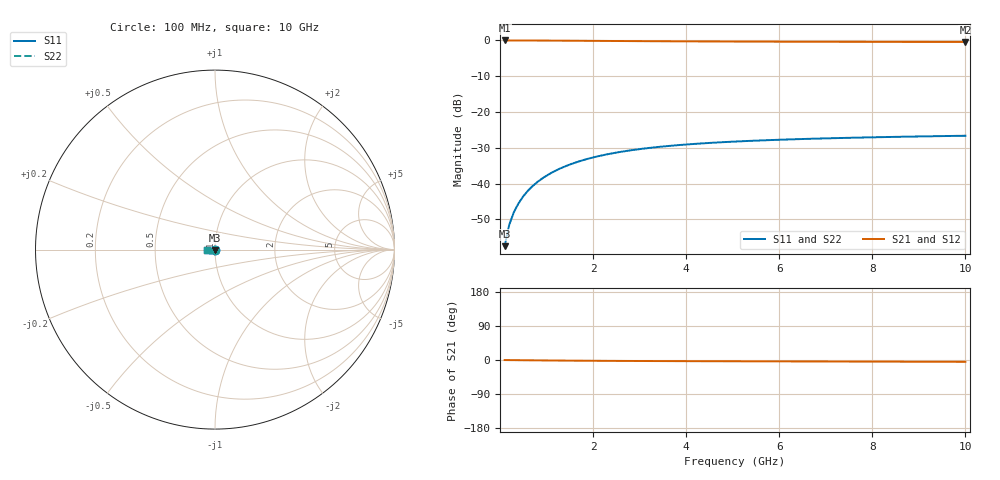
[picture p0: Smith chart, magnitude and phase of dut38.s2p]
! Touchstone file exported from HFSS 2024.1.0
!  File:  C:/UserFiles/LocalFiles/RDL_TSV_Batchsim/temp_TSV1_38_1778748063.aedt
!  Generated:  04:46:22 PM May 14, 2026
!  Design:  TSV1
!  Project:  temp_TSV1_38_1778748063
!  Setup:  Setup1
!  Solution:  Sweep
! Variables:
!  dtsv = 12.12um
!  hbump = 3um
!  htsv = 73.67um
!  lrdl = 252.1521522um
!  p = 40
!  p1 = 53.59um
!  t = 500um
!  trdl = 3um
!  wrdl = 24.89489489um
# GHz S MA R 50.000000
! Terminal data exported
! Port[1] = TSV22_T1
! Port[2] = TSV22_T2
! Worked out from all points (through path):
!   100 points, 100 MHz to 10 GHz, reference 50 ohm
!   highest |S21| = 0.00 dB at 100 MHz (marker M1); lowest = -0.4 dB at 10 GHz (marker M2)
!   lowest |S11| = -57.5 dB at 100 MHz (marker M3), VSWR 1.00, Z = 50 - j0.134 ohm
!   |S11| at or under -10 dB: start of sweep to end of sweep
!   |S22| runs from -57.5 to -26.6 dB; largest |S21 - S12| = 5.1e-15
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0.1  0.001336 -87.9  0.9999 -0.1  0.9999 -0.1  0.001336 -87.9
! Gamma 0 0 0 0
! Port Impedance 50 0 50 0
0.2  0.002668 -91.5  0.9997 -0.3  0.9997 -0.3  0.002668 -91.5
0.3  0.003999 -94.0  0.9995 -0.4  0.9995 -0.4  0.003999 -94.0
0.4  0.005323 -96.1  0.9992 -0.5  0.9992 -0.5  0.005323 -96.1
0.5  0.006636 -98.1  0.9988 -0.6  0.9988 -0.6  0.006636 -98.1
0.6  0.007933 -100.1  0.9983 -0.7  0.9983 -0.7  0.007933 -100.1
0.7  0.009211 -102.0  0.9978 -0.8  0.9978 -0.8  0.009211 -102.0
0.8  0.01047 -103.9  0.9972 -1.0  0.9972 -1.0  0.01047 -103.9
0.9  0.0117 -105.7  0.9965 -1.1  0.9965 -1.1  0.0117 -105.7
1.1  0.01408 -109.2  0.9951 -1.3  0.9951 -1.3  0.01408 -109.2
1.4  0.01741 -114.3  0.9926 -1.6  0.9926 -1.6  0.01741 -114.3
1.6  0.01947 -117.5  0.9908 -1.7  0.9908 -1.7  0.01947 -117.5
1.8  0.02139 -120.5  0.9889 -1.9  0.9889 -1.9  0.02139 -120.5
2.1  0.02403 -124.8  0.9861 -2.1  0.9861 -2.1  0.02403 -124.8
2.5  0.02711 -130.0  0.9824 -2.4  0.9824 -2.4  0.02711 -130.0
2.9  0.02974 -134.8  0.979 -2.6  0.979 -2.6  0.02974 -134.8
3.4  0.03249 -140.0  0.975 -2.8  0.975 -2.8  0.03249 -140.0
4.2  0.03594 -147.2  0.9696 -3.1  0.9696 -3.1  0.03594 -147.2
5.1  0.03881 -154.0  0.9649 -3.4  0.9649 -3.4  0.03881 -154.0
6.7  0.04233 -163.5  0.9589 -3.9  0.9589 -3.9  0.04233 -163.5
8.4  0.04485 -171.4  0.9548 -4.4  0.9548 -4.4  0.04485 -171.4
10  0.04663 -177.7  0.9521 -4.8  0.9521 -4.8  0.04663 -177.6
